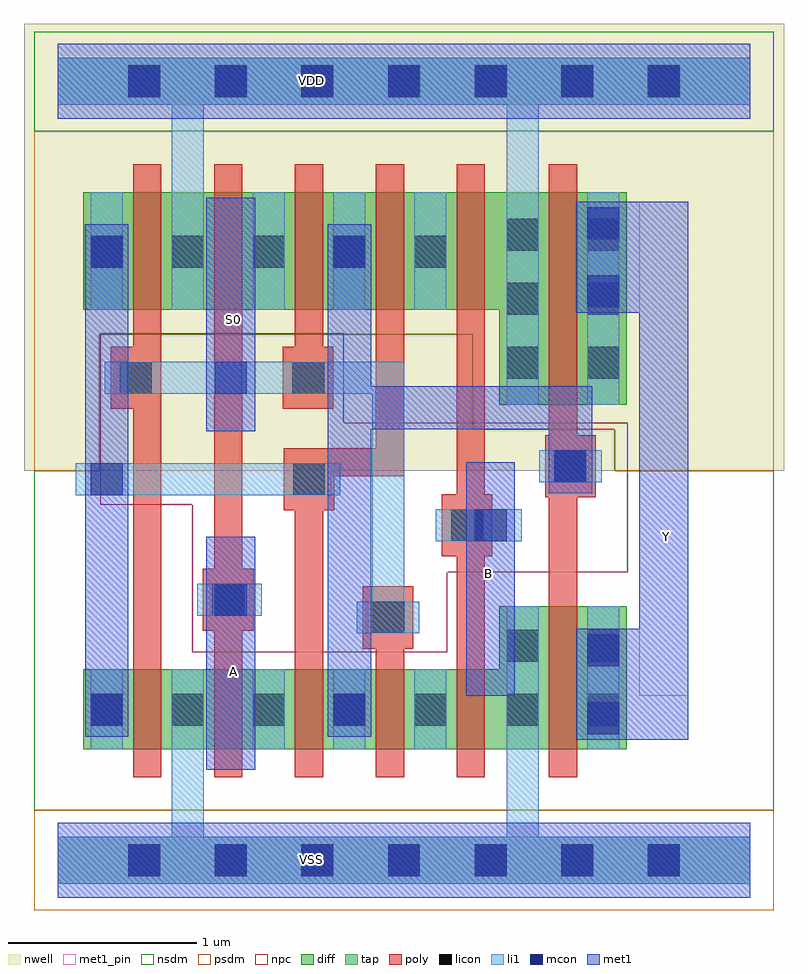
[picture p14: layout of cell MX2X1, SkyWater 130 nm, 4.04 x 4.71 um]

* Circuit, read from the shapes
.subckt MX2X1 A B S0 VDD VSS Y
XM1 VSS S0 n1 VSS sky130_fd_pr__nfet_01v8 w=0.425 l=0.15
XM2 n2 A VSS VSS sky130_fd_pr__nfet_01v8 w=0.425 l=0.15
XM3 n3 n1 n2 VSS sky130_fd_pr__nfet_01v8 w=0.425 l=0.15
XM4 n4 S0 n3 VSS sky130_fd_pr__nfet_01v8 w=0.425 l=0.15
XM5 VSS B n4 VSS sky130_fd_pr__nfet_01v8 w=0.425 l=0.15
XM6 Y n3 VSS VSS sky130_fd_pr__nfet_01v8 w=0.76 l=0.15
XM7 VDD S0 n1 VDD sky130_fd_pr__pfet_01v8 w=0.625 l=0.15
XM8 n5 A VDD VDD sky130_fd_pr__pfet_01v8 w=0.625 l=0.15
XM9 n3 S0 n5 VDD sky130_fd_pr__pfet_01v8 w=0.625 l=0.15
XM10 n6 n1 n3 VDD sky130_fd_pr__pfet_01v8 w=0.625 l=0.15
XM11 VDD B n6 VDD sky130_fd_pr__pfet_01v8 w=0.625 l=0.15
XM12 Y n3 VDD VDD sky130_fd_pr__pfet_01v8 w=1.13 l=0.15
.ends

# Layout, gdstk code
from math import pi, radians
import gdstk
lib = gdstk.Library(unit=1e-6, precision=1e-09)
def R(c, l, rs):  # rectangles x0, y0, x1, y1
    for r in rs: c.add(gdstk.rectangle(r[:2], r[2:], *l))
def A(c, l, x, y, w, h, nx, ny, dx, dy):  # array of equal rectangles
    R(c, l, [(x+i*dx, y+j*dy, x+i*dx+w, y+j*dy+h) for i in range(nx) for j in range(ny)])
def P(c, l, *ps):  # polygons
    for p in ps: c.add(gdstk.Polygon(p, *l))
nwell = (64, 20)
diff = (65, 20)
tap = (65, 44)
poly = (66, 20)
licon = (66, 44)
li1 = (67, 20)
mcon = (67, 44)
met1_pin = (68, 16)
met1 = (68, 20)
nsdm = (93, 44)
psdm = (94, 20)
npc = (95, 20)

pyl1con_c_cdns_750710154 = lib.new_cell('PYL1CON_C_CDNS_750710154092')
R(pyl1con_c_cdns_750710154, poly, [(-0.135,-0.165,0.135,0.165)])
R(pyl1con_c_cdns_750710154, licon, [(-0.085,-0.085,0.085,0.085)])
R(pyl1con_c_cdns_750710154, npc, [(-0.185,-0.185,0.185,0.185)])

l1m1_c_cdns_750710154091 = lib.new_cell('L1M1_C_CDNS_750710154091')
R(l1m1_c_cdns_750710154091, li1, [(-0.085,-0.165,0.085,0.165)])
R(l1m1_c_cdns_750710154091, mcon, [(-0.085,-0.085,0.085,0.085)])
R(l1m1_c_cdns_750710154091, met1, [(-0.115,-0.145,0.115,0.145)])

c_l1m1_c_cdns_750710154091 = lib.new_cell('L1M1_C_CDNS_7507101540919')
R(c_l1m1_c_cdns_750710154091, li1, [(-0.085,-0.345,0.085,0.345)])
R(c_l1m1_c_cdns_750710154091, mcon, [(-0.085,-0.265,0.085,-0.095), (-0.085,0.095,0.085,0.265)])
R(c_l1m1_c_cdns_750710154091, met1, [(-0.145,-0.295,0.195,0.295)])

l1m1_c_cdns_750710154090 = lib.new_cell('L1M1_C_CDNS_750710154090')
R(l1m1_c_cdns_750710154090, li1, [(-0.165,-0.085,0.165,0.085)])
R(l1m1_c_cdns_750710154090, mcon, [(-0.085,-0.085,0.085,0.085)])
R(l1m1_c_cdns_750710154090, met1, [(-0.115,-0.145,0.115,0.145)])

licondiff_c_cdns_7507101 = lib.new_cell('LICONDIFF_C_CDNS_7507101540911')
R(licondiff_c_cdns_7507101, diff, [(-0.125,-0.145,0.125,0.145)])
R(licondiff_c_cdns_7507101, licon, [(-0.085,-0.085,0.085,0.085), (-0.085,-0.085,0.085,0.085)])

mx2x1 = lib.new_cell('MX2X1')
R(mx2x1, nwell, [(-0.18,2.07,3.86,4.305), (2.165,2.24,3.205,3.73), (-0.045,2.745,0.955,3.73), (0.595,2.745,1.385,3.73), (1.025,2.745,1.815,3.73), (1.455,2.745,2.075,3.73), (1.715,2.745,2.525,3.73), (-0.18,3.875,3.86,4.445)])
A(mx2x1, diff, 0.4, 0.59, 0.15, 0.425, 5, 1, 0.43, 0)
A(mx2x1, diff, 0.55, 0.59, 0.225, 0.425, 3, 1, 0.43, 0)
A(mx2x1, diff, 0.775, 0.59, 0.055, 0.425, 3, 1, 0.43, 0)
A(mx2x1, diff, 0.4, 2.925, 0.15, 0.625, 5, 1, 0.43, 0)
A(mx2x1, diff, 0.55, 2.925, 0.225, 0.625, 3, 1, 0.43, 0)
A(mx2x1, diff, 0.775, 2.925, 0.055, 0.625, 3, 1, 0.43, 0)
R(mx2x1, diff, [(0.135,0.59,0.4,1.015), (1.84,0.59,1.895,1.015), (1.895,0.59,2.12,1.015), (2.27,0.59,2.345,1.015), (2.345,0.59,2.61,1.35), (2.61,0.59,2.76,1.35), (2.76,0.59,3.025,1.35), (2.345,2.42,2.61,3.55), (2.61,2.42,2.76,3.55), (2.76,2.42,3.025,3.55), (0.135,2.925,0.4,3.55), (1.84,2.925,1.895,3.55), (1.895,2.925,2.12,3.55), (2.27,2.925,2.345,3.55)])
A(mx2x1, poly, 0.4, 0.44, 0.15, 0.055, 5, 2, 0.43, 0.67)
A(mx2x1, poly, 0.4, 0.495, 0.15, 0.095, 5, 2, 0.43, 0.52)
A(mx2x1, poly, 0.4, 0.59, 0.15, 0.425, 5, 1, 0.43, 0)
A(mx2x1, poly, 0.4, 2.775, 0.15, 0.055, 5, 2, 0.43, 0.87)
A(mx2x1, poly, 0.4, 2.83, 0.15, 0.095, 5, 2, 0.43, 0.72)
A(mx2x1, poly, 0.4, 2.925, 0.15, 0.625, 5, 1, 0.43, 0)
R(mx2x1, poly, [(2.61,0.44,2.76,0.495), (2.61,0.495,2.76,0.59), (2.61,0.59,2.76,1.35), (2.61,1.35,2.76,1.445), (2.61,1.445,2.76,1.5), (2.61,2.22,2.76,2.275), (2.61,2.275,2.76,2.42), (2.61,2.42,2.76,3.55), (2.61,3.55,2.76,3.645), (2.61,3.645,2.76,3.7)])
A(mx2x1, licon, 0.375, -0.085, 0.17, 0.17, 7, 2, 0.46, 4.14)
A(mx2x1, licon, 2.385, 2.56, 0.17, 0.17, 1, 3, 0, 0.34)
A(mx2x1, licon, 2.815, 2.56, 0.17, 0.17, 1, 3, 0, 0.34)
R(mx2x1, licon, [(0.175,0.715,0.345,0.885), (0.605,0.715,0.775,0.885), (1.465,0.715,1.635,0.885), (2.385,0.715,2.555,0.885), (2.815,0.715,2.985,0.885), (2.385,1.055,2.555,1.225), (2.815,1.055,2.985,1.225), (0.175,3.15,0.345,3.32), (0.605,3.15,0.775,3.32), (1.465,3.15,1.635,3.32)])
R(mx2x1, li1, [(0.175,0.59,0.345,1.015), (0.605,0.59,0.775,1.015), (1.465,0.59,1.635,1.015), (2.385,0.59,2.555,1.35), (2.815,0.59,2.985,1.35), (2.385,2.42,2.555,3.55), (2.815,2.42,2.985,3.55), (0.175,2.925,0.345,3.55), (0.605,2.925,0.775,3.55), (1.465,2.925,1.635,3.55)])
A(mx2x1, mcon, 0.375, -0.085, 0.17, 0.17, 7, 2, 0.46, 4.14)
R(mx2x1, met1_pin, [(0.79,0.48,1.05,1.72), (2.17,0.875,2.43,2.115), (3.09,0.875,3.35,3.5), (0.79,2.28,1.05,3.52)])
R(mx2x1, met1, [(2.61,2.24,2.84,2.29)])
R(mx2x1, nsdm, [(-0.005,0.46,0.785,1.145), (0.765,0.46,1.215,1.145), (1.195,0.46,1.645,1.145), (1.625,0.46,1.905,1.145), (1.885,0.46,2.225,1.145), (2.205,0.46,3.165,1.48), (-0.125,3.875,3.805,4.405), (-0.125,3.93,3.805,4.35)])
P(mx2x1, nsdm, [(3.805,2.07),(2.96,2.07),(2.96,2.29),(2.205,2.29),(2.205,2.795),(0.22,2.795),(0.22,2.07),(-0.125,2.07),(-0.125,0.265),(3.805,0.265)])
R(mx2x1, psdm, [(-0.125,-0.265,3.805,0.265), (-0.125,-0.21,3.805,0.21), (2.205,2.29,3.165,3.68), (-0.005,2.795,0.785,3.68), (0.765,2.795,1.215,3.68), (1.195,2.795,1.645,3.68), (1.625,2.795,1.905,3.68), (1.885,2.795,2.225,3.68)])
P(mx2x1, psdm, [(3.805,3.875),(-0.125,3.875),(-0.125,2.07),(0.22,2.07),(0.22,2.795),(2.96,2.795),(2.96,2.07),(3.805,2.07)])
R(mx2x1, npc, [(0.225,1.89,1.52,2.8)])
P(mx2x1, npc, [(3.03,2.325),(0.715,2.325),(0.715,1.105),(2.07,1.105),(2.07,1.53),(3.03,1.53)],
  [(2.07,1.595),(1.575,1.595),(1.575,1.105),(2.06,1.105),(2.06,1.325),(2.07,1.325)])
mx2x1.add(gdstk.FlexPath([(1.765,1.11),(1.765,1.35)], 0.15, ends=(0, 0.075), simple_path=True, layer=66, datatype=20))  # poly
mx2x1.add(gdstk.FlexPath([(1.335,2.615),(1.33,2.615)], 0.15, ends=(0.075, 0), simple_path=True, layer=66, datatype=20))  # poly
mx2x1.add(gdstk.FlexPath([(1.335,2.775),(1.335,2.605)], 0.15, ends=(0, 0.075), simple_path=True, layer=66, datatype=20))  # poly
mx2x1.add(gdstk.FlexPath([(1.335,1.165),(1.335,2.115)], 0.15, ends=(0, 0.075), simple_path=True, layer=66, datatype=20))  # poly
mx2x1.add(gdstk.FlexPath([(0.475,2.775),(0.475,1.165)], 0.15, ends="flush", simple_path=True, layer=66, datatype=20))  # poly
mx2x1.add(gdstk.FlexPath([(1.335,2.115),(1.765,2.115)], 0.15, ends="extended", simple_path=True, layer=66, datatype=20))  # poly
mx2x1.add(gdstk.FlexPath([(1.765,2.115),(1.765,2.91)], 0.15, ends=(0.075, 0), simple_path=True, layer=66, datatype=20))  # poly
mx2x1.add(gdstk.FlexPath([(2.685,2.2),(2.685,1.5)], 0.15, ends="flush", simple_path=True, layer=66, datatype=20))  # poly
mx2x1.add(gdstk.FlexPath([(2.195,2.775),(2.195,1.165)], 0.15, ends="flush", simple_path=True, layer=66, datatype=20))  # poly
mx2x1.add(gdstk.FlexPath([(1.765,1.35),(1.755,1.35)], 0.15, ends=(0.075, 0), simple_path=True, layer=66, datatype=20))  # poly
mx2x1.add(gdstk.FlexPath([(0.905,2.775),(0.905,1.165)], 0.15, ends="flush", simple_path=True, layer=66, datatype=20))  # poly
mx2x1.add(gdstk.FlexPath([(1.755,1.29),(1.59,1.29)], 0.17, ends=(0.085, 0), simple_path=True, layer=67, datatype=20))  # li1
mx2x1.add(gdstk.FlexPath([(1.12,3.025),(1.12,3.405)], 0.17, ends="flush", simple_path=True, layer=67, datatype=20))  # li1
mx2x1.add(gdstk.FlexPath([(1.12,3.405),(1.12,3.55)], 0.17, ends="flush", simple_path=True, layer=67, datatype=20))  # li1
mx2x1.add(gdstk.FlexPath([(1.12,2.925),(1.12,3.025)], 0.17, ends="flush", simple_path=True, layer=67, datatype=20))  # li1
mx2x1.add(gdstk.FlexPath([(1.98,2.925),(1.98,3.025)], 0.17, ends="flush", simple_path=True, layer=67, datatype=20))  # li1
mx2x1.add(gdstk.FlexPath([(1.98,3.405),(1.98,3.55)], 0.17, ends="flush", simple_path=True, layer=67, datatype=20))  # li1
mx2x1.add(gdstk.FlexPath([(1.98,3.025),(1.98,3.405)], 0.17, ends="flush", simple_path=True, layer=67, datatype=20))  # li1
mx2x1.add(gdstk.FlexPath([(0,4.14),(2.47,4.14)], 0.25, ends=(0, 0.085), simple_path=True, layer=67, datatype=20))  # li1
mx2x1.add(gdstk.FlexPath([(1.92,1.29),(1.755,1.29)], 0.17, ends=(0, 0.085), simple_path=True, layer=67, datatype=20))  # li1
mx2x1.add(gdstk.FlexPath([(1.98,0.69),(1.98,1.015)], 0.17, ends="flush", simple_path=True, layer=67, datatype=20))  # li1
mx2x1.add(gdstk.FlexPath([(1.12,0.59),(1.12,0.69)], 0.17, ends="flush", simple_path=True, layer=67, datatype=20))  # li1
mx2x1.add(gdstk.FlexPath([(2.47,0),(3.68,0)], 0.25, ends=(0.085, 0), simple_path=True, layer=67, datatype=20))  # li1
mx2x1.add(gdstk.FlexPath([(0.26,2.025),(1.5,2.025)], 0.17, ends="flush", simple_path=True, layer=67, datatype=20))  # li1
mx2x1.add(gdstk.FlexPath([(1.755,1.29),(1.755,1.285)], 0.17, ends=(0.085, 0), simple_path=True, layer=67, datatype=20))  # li1
mx2x1.add(gdstk.FlexPath([(0.69,0.59),(0.69,0)], 0.17, ends="flush", simple_path=True, layer=67, datatype=20))  # li1
mx2x1.add(gdstk.FlexPath([(0,0),(2.47,0)], 0.25, ends=(0, 0.085), simple_path=True, layer=67, datatype=20))  # li1
mx2x1.add(gdstk.FlexPath([(2.3,1.78),(2.01,1.78)], 0.17, ends="flush", simple_path=True, layer=67, datatype=20))  # li1
mx2x1.add(gdstk.FlexPath([(0.25,2.565),(1.755,2.565)], 0.17, ends=(0, 0.085), simple_path=True, layer=67, datatype=20))  # li1
mx2x1.add(gdstk.FlexPath([(1.755,2.565),(1.755,1.29)], 0.17, ends="extended", simple_path=True, layer=67, datatype=20))  # li1
mx2x1.add(gdstk.FlexPath([(1.12,0.69),(1.12,1.015)], 0.17, ends="flush", simple_path=True, layer=67, datatype=20))  # li1
mx2x1.add(gdstk.FlexPath([(1.98,0.59),(1.98,0.69)], 0.17, ends="flush", simple_path=True, layer=67, datatype=20))  # li1
mx2x1.add(gdstk.FlexPath([(2.47,0.59),(2.47,0)], 0.17, ends=(0, 0.125), simple_path=True, layer=67, datatype=20))  # li1
mx2x1.add(gdstk.FlexPath([(2.47,3.55),(2.47,4.14)], 0.17, ends=(0, 0.125), simple_path=True, layer=67, datatype=20))  # li1
mx2x1.add(gdstk.FlexPath([(0.69,3.55),(0.69,4.14)], 0.17, ends="flush", simple_path=True, layer=67, datatype=20))  # li1
mx2x1.add(gdstk.FlexPath([(0.92,1.385),(0.74,1.385)], 0.17, ends="flush", simple_path=True, layer=67, datatype=20))  # li1
mx2x1.add(gdstk.FlexPath([(2.47,4.14),(3.68,4.14)], 0.25, ends=(0.085, 0), simple_path=True, layer=67, datatype=20))  # li1
mx2x1.add(gdstk.FlexPath([(3.22,0.64),(3.22,3.5)], 0.26, ends="flush", simple_path=True, layer=68, datatype=20))  # met1
mx2x1.add(gdstk.FlexPath([(0,0),(3.68,0)], 0.4, ends="flush", simple_path=True, layer=68, datatype=20))  # met1
mx2x1.add(gdstk.FlexPath([(0.26,3.235),(0.26,0.8)], 0.23, ends="flush", simple_path=True, layer=68, datatype=20))  # met1
mx2x1.add(gdstk.FlexPath([(2.84,2.405),(1.55,2.405)], 0.23, ends=(0, 0.115), simple_path=True, layer=68, datatype=20))  # met1
mx2x1.add(gdstk.FlexPath([(0.92,2.28),(0.92,3.52)], 0.26, ends="flush", simple_path=True, layer=68, datatype=20))  # met1
mx2x1.add(gdstk.FlexPath([(2.3,2.115),(2.3,0.875)], 0.26, ends="flush", simple_path=True, layer=68, datatype=20))  # met1
mx2x1.add(gdstk.FlexPath([(1.55,0.8),(1.55,3.235)], 0.23, ends="flush", simple_path=True, layer=68, datatype=20))  # met1
mx2x1.add(gdstk.FlexPath([(0.92,0.48),(0.92,1.72)], 0.26, ends="flush", simple_path=True, layer=68, datatype=20))  # met1
mx2x1.add(gdstk.FlexPath([(0,4.14),(3.68,4.14)], 0.4, ends="flush", simple_path=True, layer=68, datatype=20))  # met1
mx2x1.add(gdstk.FlexPath([(0,4.14),(3.68,4.14)], 0.25, ends="flush", simple_path=True, layer=65, datatype=44))  # tap
mx2x1.add(gdstk.FlexPath([(0,0),(3.68,0)], 0.25, ends="flush", simple_path=True, layer=65, datatype=44))  # tap
mx2x1.add(gdstk.FlexPath([(0,0),(3.68,0)], 0.4, ends="flush", simple_path=True, layer=68, datatype=16))  # met1_pin
mx2x1.add(gdstk.FlexPath([(0,4.14),(3.68,4.14)], 0.4, ends="flush", simple_path=True, layer=68, datatype=16))  # met1_pin
mx2x1.add(gdstk.Reference(pyl1con_c_cdns_750710154, (2.725,2.095), x_reflection=True))
mx2x1.add(gdstk.Reference(pyl1con_c_cdns_750710154, (2.175,1.78), x_reflection=True))
mx2x1.add(gdstk.Reference(pyl1con_c_cdns_750710154, (0.905,1.385), x_reflection=True))
mx2x1.add(gdstk.Reference(pyl1con_c_cdns_750710154, (1.335,2.025), x_reflection=True))
mx2x1.add(gdstk.Reference(pyl1con_c_cdns_750710154, (1.755,1.29), x_reflection=True))
mx2x1.add(gdstk.Reference(pyl1con_c_cdns_750710154, (1.33,2.565), x_reflection=True))
mx2x1.add(gdstk.Reference(pyl1con_c_cdns_750710154, (0.415,2.565), x_reflection=True))
mx2x1.add(gdstk.Reference(l1m1_c_cdns_750710154091, (0.26,3.235)))
mx2x1.add(gdstk.Reference(l1m1_c_cdns_750710154091, (0.26,0.8)))
mx2x1.add(gdstk.Reference(l1m1_c_cdns_750710154091, (1.55,0.8)))
mx2x1.add(gdstk.Reference(l1m1_c_cdns_750710154091, (1.55,3.235)))
mx2x1.add(gdstk.Reference(c_l1m1_c_cdns_750710154091, (2.9,3.205)))
mx2x1.add(gdstk.Reference(c_l1m1_c_cdns_750710154091, (2.9,0.935)))
mx2x1.add(gdstk.Reference(l1m1_c_cdns_750710154090, (0.92,1.385), x_reflection=True))
mx2x1.add(gdstk.Reference(l1m1_c_cdns_750710154090, (2.3,1.78), rotation=pi, x_reflection=True))
mx2x1.add(gdstk.Reference(l1m1_c_cdns_750710154090, (2.725,2.095)))
mx2x1.add(gdstk.Reference(l1m1_c_cdns_750710154090, (0.92,2.565), x_reflection=True))
mx2x1.add(gdstk.Reference(l1m1_c_cdns_750710154090, (0.26,2.025)))
mx2x1.add(gdstk.Reference(licondiff_c_cdns_7507101, (1.98,0.8)))
mx2x1.add(gdstk.Reference(licondiff_c_cdns_7507101, (1.12,0.8)))
mx2x1.add(gdstk.Reference(licondiff_c_cdns_7507101, (1.98,3.235)))
mx2x1.add(gdstk.Reference(licondiff_c_cdns_7507101, (1.12,3.235)))
mx2x1.add(gdstk.Label('VSS', (1.35,0.005), layer=68, texttype=5))
mx2x1.add(gdstk.Label('A', (0.935,1.005), layer=68, texttype=5))
mx2x1.add(gdstk.Label('VDD', (1.35,4.145), layer=68, texttype=5))
mx2x1.add(gdstk.Label('B', (2.29,1.525), layer=68, texttype=5))
mx2x1.add(gdstk.Label('S0', (0.935,2.875), layer=68, texttype=5))
mx2x1.add(gdstk.Label('Y', (3.235,1.72), layer=68, texttype=5))

lib.write_gds('MX2X1.gds')
